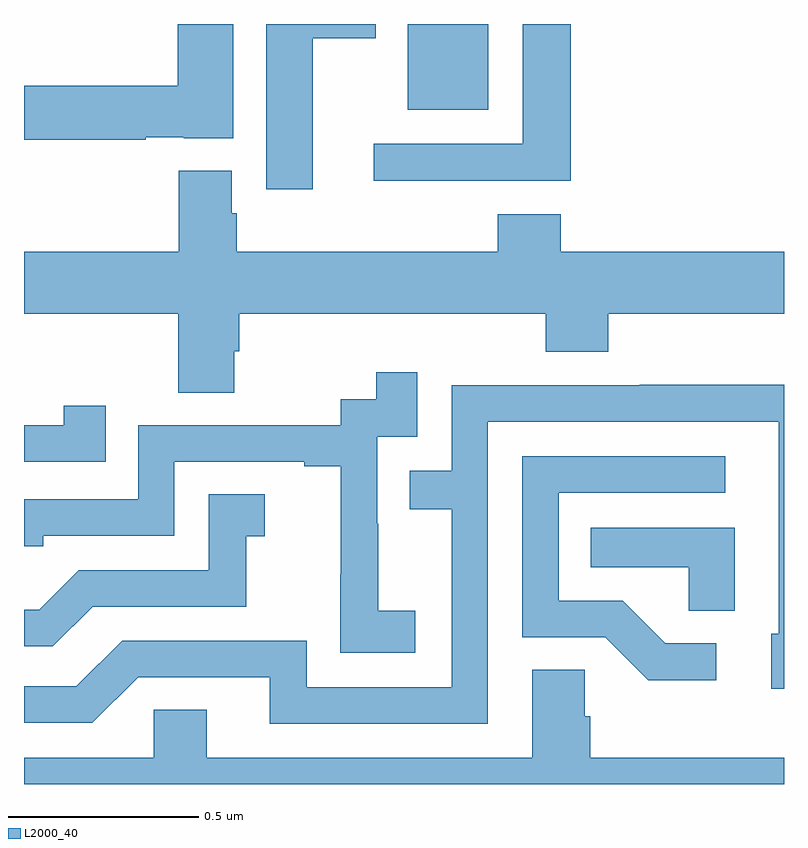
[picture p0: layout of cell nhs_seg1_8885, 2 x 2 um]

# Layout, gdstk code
import gdstk
lib = gdstk.Library(unit=1e-6, precision=1e-09)
def R(c, l, rs):  # rectangles x0, y0, x1, y1
    for r in rs: c.add(gdstk.rectangle(r[:2], r[2:], *l))
def P(c, l, *ps):  # polygons
    for p in ps: c.add(gdstk.Polygon(p, *l))
L2000_40 = (2000, 40)

nhs_seg1_8885 = lib.new_cell('nhs_seg1_8885')
R(nhs_seg1_8885, L2000_40, [(223.01,514.973,223.222,515.199)])
P(nhs_seg1_8885, L2000_40, [(222.76,515.162),(222.925,515.162),(222.925,515.199),(222.638,515.199),(222.638,514.764),(222.76,514.764)],
  [(223.439,515.199),(223.313,515.199),(223.313,514.884),(222.921,514.884),(222.921,514.787),(223.439,514.787)],
  [(222.32,514.901),(222.42,514.901),(222.42,514.898),(222.55,514.898),(222.55,515.199),(222.404,515.199),(222.404,515.036),(222,515.036),(222,514.894),(222.32,514.894)],
  [(222.553,514.338),(222.566,514.338),(222.566,514.436),(223.373,514.436),(223.373,514.337),(223.538,514.337),(223.538,514.436),(224,514.436),(224,514.6),(223.412,514.6),(223.412,514.699),(223.247,514.699),(223.247,514.6),(222.56,514.6),(222.56,514.701),(222.547,514.701),(222.547,514.813),(222.407,514.813),(222.407,514.6),(222,514.6),(222,514.436),(222.406,514.436),(222.406,514.228),(222.553,514.228)],
  [(223.03,513.655),(222.932,513.655),(222.932,513.884),(222.93,513.884),(222.93,514.113),(223.035,514.113),(223.035,514.282),(222.927,514.282),(222.927,514.212),(222.834,514.212),(222.834,514.143),(222.3,514.143),(222.3,513.948),(222,513.948),(222,513.825),(222.051,513.825),(222.051,513.852),(222.396,513.852),(222.396,514.047),(222.737,514.047),(222.737,514.035),(222.833,514.035),(222.833,513.751),(222.832,513.751),(222.832,513.545),(223.03,513.545)],
  [(223.221,514.152),(223.986,514.152),(223.986,513.594),(223.967,513.594),(223.967,513.45),(224,513.45),(224,514.25),(223.621,514.25),(223.621,514.248),(223.125,514.248),(223.125,514.023),(223.015,514.023),(223.015,513.922),(223.125,513.922),(223.125,513.453),(222.744,513.453),(222.744,513.576),(222.258,513.576),(222.138,513.456),(222,513.456),(222,513.36),(222.18,513.36),(222.3,513.48),(222.647,513.48),(222.647,513.357),(223.221,513.357)],
  [(222.215,514.195),(222.104,514.195),(222.104,514.143),(222,514.143),(222,514.047),(222.215,514.047)],
  [(223.822,513.57),(223.687,513.57),(223.576,513.681),(223.407,513.681),(223.407,513.966),(223.846,513.966),(223.846,514.062),(223.311,514.062),(223.311,513.585),(223.53,513.585),(223.643,513.472),(223.822,513.472)],
  [(222.181,513.666),(222.585,513.666),(222.585,513.851),(222.634,513.851),(222.634,513.961),(222.486,513.961),(222.486,513.762),(222.144,513.762),(222.04,513.658),(222,513.658),(222,513.561),(222.076,513.561)],
  [(223.87,513.874),(223.492,513.874),(223.492,513.77),(223.749,513.77),(223.749,513.655),(223.87,513.655)],
  [(224,513.268),(223.49,513.268),(223.49,513.377),(223.476,513.377),(223.476,513.5),(223.337,513.5),(223.337,513.268),(222.481,513.268),(222.481,513.395),(222.342,513.395),(222.342,513.268),(222,513.268),(222,513.199),(224,513.199)])

lib.write_gds('nhs_seg1_8885.gds')
